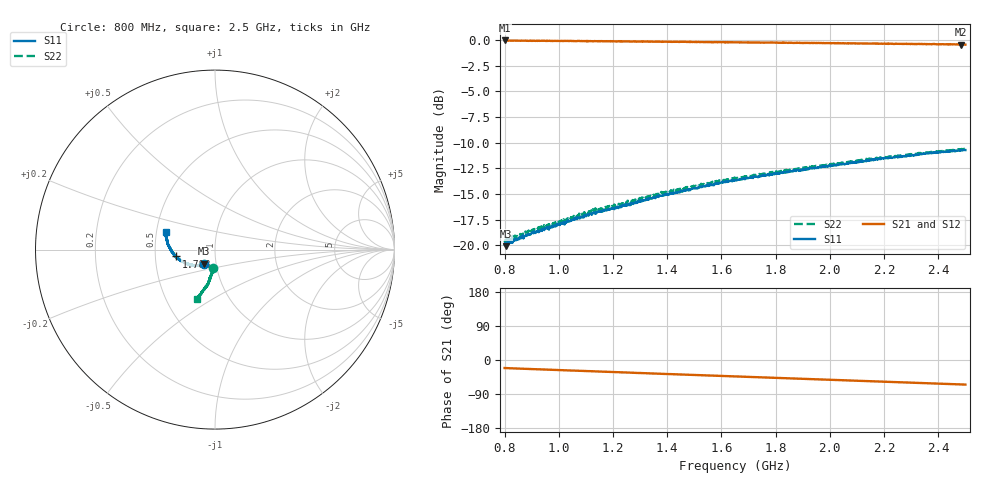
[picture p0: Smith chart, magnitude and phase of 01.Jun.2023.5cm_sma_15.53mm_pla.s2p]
!Keysight Technologies N9950B: A.12.38
!Date: Thursday, 01 June 2023 13:44:41
!Timezone: (UTC-06:00) Central Time (US & Canada)
!Model: N9950B
!Serial: MY61131330
!GPS Latitude:
!GPS Longitude:
!GPS TimeStamp: 0001-01-01 00:00:00Z
!GPS Seconds Since Last Read: 0
!CHECKSUM:0348304072
!Correction: S11(ON U)S21(ON U)S12(ON U)S22(ON U)
!S2P File: Measurements:S11,S21,S12,S22:
# Hz S DB R 50
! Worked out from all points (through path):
!   1001 points, 800 MHz to 2.5 GHz, reference 50 ohm
!   highest |S21| = -0.06 dB at 800 MHz (marker M1); lowest = -0.5 dB at 2.485 GHz (marker M2)
!   group delay of S21, straight-line fit = 71.2 ps
!   lowest |S11| = -20.1 dB at 805.1 MHz (marker M3), VSWR 1.22, Z = 43.7 - j6.84 ohm
!   |S11| at or under -10 dB: start of sweep to end of sweep
!   |S22| runs from -19.7 to -10.6 dB; largest |S21 - S12| = 0.0051
!   S11 on the Smith chart (normalised r, x): 800 MHz: 0.87, -0.14; 1.788 GHz: 0.64, -0.05; 2.5 GHz: 0.56, +0.12
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8e8  -19.97 -127.8  -0.06 -21.2  -0.08 -21.2  -19.71 -95.1
8.051e8  -20.10 -128.4  -0.07 -21.4  -0.09 -21.4  -19.66 -94.4
8.374e8  -19.55 -129.5  -0.07 -22.2  -0.08 -22.3  -19.09 -94.8
9.037e8  -18.80 -132.2  -0.10 -23.9  -0.09 -24.0  -18.59 -95.7
9.19e8  -18.67 -132.4  -0.08 -24.3  -0.09 -24.4  -18.46 -96.1
9.7e8  -18.29 -134.9  -0.11 -25.7  -0.11 -25.7  -17.90 -95.9
1.0227e9  -17.87 -137.0  -0.12 -27.1  -0.11 -27.0  -17.56 -97.3
1.0652e9  -17.41 -139.1  -0.13 -28.1  -0.13 -28.2  -17.22 -97.9
1.0839e9  -17.27 -139.8  -0.10 -28.7  -0.12 -28.8  -17.01 -97.8
1.1111e9  -16.99 -140.9  -0.13 -29.4  -0.13 -29.4  -16.70 -98.1
1.1281e9  -16.84 -141.9  -0.13 -29.8  -0.14 -29.9  -16.64 -99.3
1.1468e9  -16.66 -142.8  -0.13 -30.4  -0.13 -30.3  -16.51 -99.1
1.2114e9  -16.37 -145.7  -0.14 -32.0  -0.15 -32.1  -16.09 -100.3
1.3678e9  -15.31 -152.4  -0.18 -36.2  -0.18 -36.1  -15.04 -100.5
1.5514e9  -14.23 -160.9  -0.21 -40.8  -0.22 -40.8  -13.97 -102.2
1.65e9  -13.68 -164.6  -0.24 -43.3  -0.25 -43.5  -13.45 -103.5
1.7877e9  -13.09 -170.2  -0.27 -46.9  -0.28 -46.9  -12.96 -105.2
1.9339e9  -12.54 -175.7  -0.30 -50.5  -0.30 -50.6  -12.30 -106.3
2.2178e9  -11.49 172.4  -0.37 -57.6  -0.39 -57.8  -11.39 -108.7
2.3385e9  -11.09 166.7  -0.40 -60.8  -0.40 -60.9  -11.07 -109.7
2.4847e9  -10.75 160.3  -0.46 -64.6  -0.44 -64.7  -10.66 -110.5
2.5e9  -10.73 159.7  -0.46 -64.9  -0.46 -64.9  -10.59 -110.2
